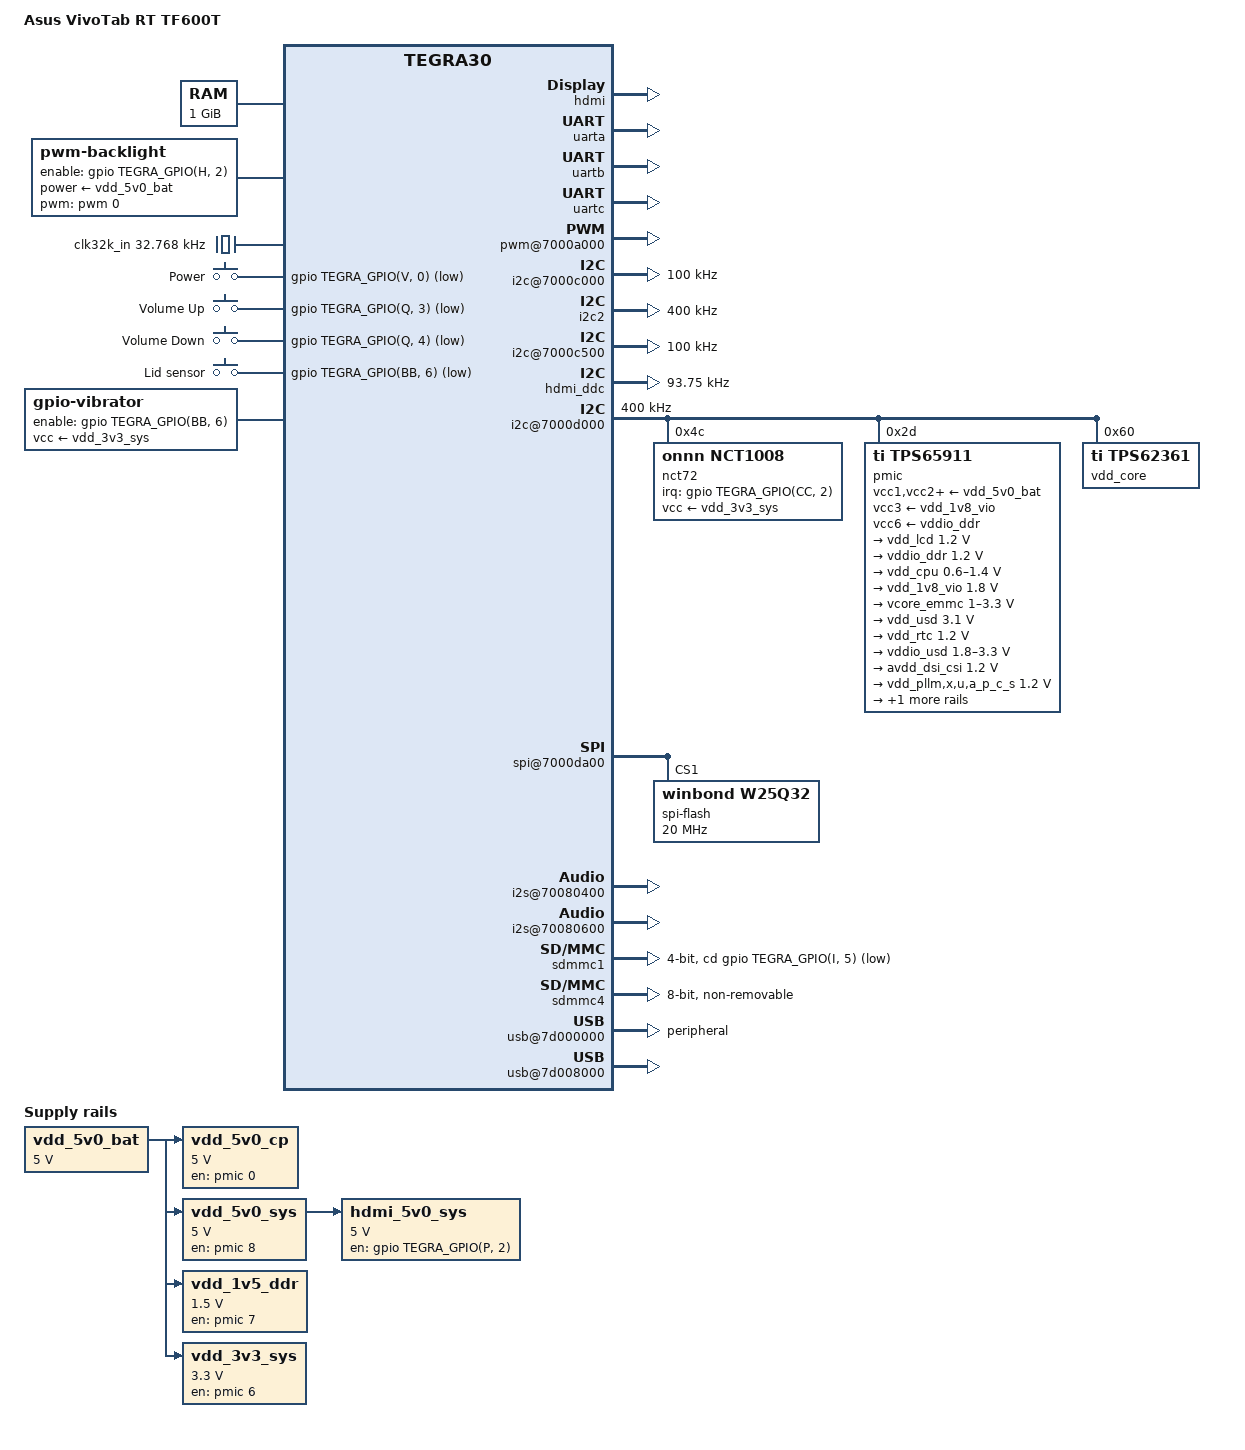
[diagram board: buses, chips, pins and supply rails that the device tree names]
// SPDX-License-Identifier: GPL-2.0
/dts-v1/;

/* This dts file describes the Asus VivoTab RT TF600T tablet */
/* CPU Speedo ID 2, Soc Speedo ID 2, CPU Process: 2, Core Process: 0 */

#include <dt-bindings/input/gpio-keys.h>
#include <dt-bindings/input/input.h>
#include <dt-bindings/thermal/thermal.h>

#include "tegra30.dtsi"
#include "tegra30-cpu-opp.dtsi"
#include "tegra30-cpu-opp-microvolt.dtsi"

/ {
	model = "Asus VivoTab RT TF600T";
	compatible = "asus,tf600t", "nvidia,tegra30";

	aliases {
		mmc0 = &sdmmc4;	/* eMMC */
		mmc1 = &sdmmc1; /* uSD slot */

		rtc0 = &pmic;
		rtc1 = "/rtc@7000e000";

//		display0 = &lcd;
//		display1 = &hdmi;

		serial1 = &uartc; /* Bluetooth */
		serial2 = &uartb; /* GPS */
	};

	/*
	 * The decompressor and also some bootloaders rely on a
	 * pre-existing /chosen node to be available to insert the
	 * command line and merge other ATAGS info.
	 */
	chosen {
		stdout-path = &uarta;
	};

	memory@80000000 {
		reg = <0x80000000 0x40000000>; // 1 GiB is wrong size but 2GB doesnt work atm
	};

	reserved-memory {
		#address-cells = <1>;
		#size-cells = <1>;
		ranges;

		linux,cma@80000000 {
			compatible = "shared-dma-pool";
			alloc-ranges = <0x80000000 0x30000000>;
			size = <0x10000000>; 		/* 256MiB */
			linux,cma-default;
			reusable;
		};

		ramoops@beb00000 {
			compatible = "ramoops";
			reg = <0xbeb00000 0x10000>;	/* 64kB */
			console-size = <0x8000>;	/* 32kB */
			record-size = <0x400>;		/*  1kB */
			ecc-size = <16>;
		};
	};

	host1x@50000000 {
		hdmi: hdmi@54280000 {
			status = "okay";

			hdmi-supply = <&hdmi_5v0_sys>;
			pll-supply = <&vdd_1v8_vio>;
			vdd-supply = <&vdd_3v3_sys>;

			nvidia,hpd-gpio = <&gpio TEGRA_GPIO(N, 7) GPIO_ACTIVE_HIGH>;
			nvidia,ddc-i2c-bus = <&hdmi_ddc>;
		};

//		lcd: dsi@54300000 {
//			status = "okay";
//
//			avdd-dsi-csi-supply = <&avdd_dsi_csi>;
//
//			panel@0 {
//				compatible = "hydis,hv101hd1";
//				reg = <0>;
//
//				enable-gpio = <&gpio TEGRA_GPIO(L, 4) GPIO_ACTIVE_HIGH>;
//
//				power-supply = <&vdd_lcd>;
//				backlight = <&backlight>;
//			};
//		};
	};

	vde@6001a000 {
		assigned-clocks = <&tegra_car TEGRA30_CLK_VDE>;
		assigned-clock-parents = <&tegra_car TEGRA30_CLK_PLL_P>;
		assigned-clock-rates = <408000000>;
	};

	pinmux@70000868 {
		pinctrl-names = "default";
		pinctrl-0 = <&state_default>;

		state_default: pinmux {
			/* SDMMC1 pinmux */
			sdmmc1_clk {
				nvidia,pins = "sdmmc1_clk_pz0";
				nvidia,function = "sdmmc1";
				nvidia,pull = <TEGRA_PIN_PULL_NONE>;
				nvidia,tristate = <TEGRA_PIN_DISABLE>;
				nvidia,enable-input = <TEGRA_PIN_ENABLE>;
			};
			sdmmc1_cmd {
				nvidia,pins = "sdmmc1_dat3_py4",
						"sdmmc1_dat2_py5",
						"sdmmc1_dat1_py6",
						"sdmmc1_dat0_py7",
						"sdmmc1_cmd_pz1";
				nvidia,function = "sdmmc1";
				nvidia,pull = <TEGRA_PIN_PULL_UP>;
				nvidia,tristate = <TEGRA_PIN_DISABLE>;
				nvidia,enable-input = <TEGRA_PIN_ENABLE>;
			};
			sdmmc1_cd {
				nvidia,pins = "gmi_iordy_pi5";
				nvidia,function = "rsvd1";
				nvidia,pull = <TEGRA_PIN_PULL_UP>;
				nvidia,tristate = <TEGRA_PIN_DISABLE>;
				nvidia,enable-input = <TEGRA_PIN_ENABLE>;
			};
			sdmmc1_wp {
				nvidia,pins = "vi_d11_pt3";
				nvidia,function = "rsvd2";
				nvidia,pull = <TEGRA_PIN_PULL_UP>;
				nvidia,tristate = <TEGRA_PIN_DISABLE>;
				nvidia,enable-input = <TEGRA_PIN_ENABLE>;
			};

			/* SDMMC3 pinmux */
			sdmmc3_clk {
				nvidia,pins = "sdmmc3_clk_pa6";
				nvidia,function = "sdmmc3";
				nvidia,pull = <TEGRA_PIN_PULL_NONE>;
				nvidia,tristate = <TEGRA_PIN_DISABLE>;
				nvidia,enable-input = <TEGRA_PIN_ENABLE>;
			};
			sdmmc3_cmd {
				nvidia,pins = "sdmmc3_cmd_pa7",
						"sdmmc3_dat0_pb7",
						"sdmmc3_dat1_pb6",
						"sdmmc3_dat2_pb5",
						"sdmmc3_dat3_pb4",
						"sdmmc3_dat4_pd1",
						"sdmmc3_dat5_pd0",
						"sdmmc3_dat6_pd3",
						"sdmmc3_dat7_pd4";
				nvidia,function = "sdmmc3";
				nvidia,pull = <TEGRA_PIN_PULL_UP>;
				nvidia,tristate = <TEGRA_PIN_DISABLE>;
				nvidia,enable-input = <TEGRA_PIN_ENABLE>;
			};

			/* SDMMC4 pinmux */
			sdmmc4_clk {
				nvidia,pins = "sdmmc4_clk_pcc4";
				nvidia,function = "sdmmc4";
				nvidia,pull = <TEGRA_PIN_PULL_NONE>;
				nvidia,tristate = <TEGRA_PIN_DISABLE>;
				nvidia,enable-input = <TEGRA_PIN_ENABLE>;
			};
			sdmmc4_cmd {
				nvidia,pins = "sdmmc4_cmd_pt7",
						"sdmmc4_dat0_paa0",
						"sdmmc4_dat1_paa1",
						"sdmmc4_dat2_paa2",
						"sdmmc4_dat3_paa3",
						"sdmmc4_dat4_paa4",
						"sdmmc4_dat5_paa5",
						"sdmmc4_dat6_paa6",
						"sdmmc4_dat7_paa7";
				nvidia,function = "sdmmc4";
				nvidia,pull = <TEGRA_PIN_PULL_UP>;
				nvidia,tristate = <TEGRA_PIN_DISABLE>;
				nvidia,enable-input = <TEGRA_PIN_ENABLE>;
			};
			sdmmc4_rst_n {
				nvidia,pins = "sdmmc4_rst_n_pcc3";
				nvidia,function = "rsvd2";
				nvidia,pull = <TEGRA_PIN_PULL_DOWN>;
				nvidia,tristate = <TEGRA_PIN_DISABLE>;
				nvidia,enable-input = <TEGRA_PIN_ENABLE>;
			};
			cam_mclk {
				nvidia,pins = "cam_mclk_pcc0";
				nvidia,function = "vi_alt3";
				nvidia,pull = <TEGRA_PIN_PULL_UP>;
				nvidia,tristate = <TEGRA_PIN_DISABLE>;
				nvidia,enable-input = <TEGRA_PIN_ENABLE>;
			};

			/* I2C pinmux */
			gen1_i2c {
				nvidia,pins = "gen1_i2c_scl_pc4",
						"gen1_i2c_sda_pc5";
				nvidia,function = "i2c1";
				nvidia,pull = <TEGRA_PIN_PULL_NONE>;
				nvidia,tristate = <TEGRA_PIN_DISABLE>;
				nvidia,enable-input = <TEGRA_PIN_ENABLE>;
				nvidia,open-drain = <TEGRA_PIN_ENABLE>;
				nvidia,lock = <0>;
			};
			gen2_i2c {
				nvidia,pins = "gen2_i2c_scl_pt5",
						"gen2_i2c_sda_pt6";
				nvidia,function = "i2c2";
				nvidia,pull = <TEGRA_PIN_PULL_NONE>;
				nvidia,tristate = <TEGRA_PIN_DISABLE>;
				nvidia,enable-input = <TEGRA_PIN_ENABLE>;
				nvidia,open-drain = <TEGRA_PIN_ENABLE>;
				nvidia,lock = <0>;
			};
			cam_i2c {
				nvidia,pins = "cam_i2c_scl_pbb1",
						"cam_i2c_sda_pbb2";
				nvidia,function = "i2c3";
				nvidia,pull = <TEGRA_PIN_PULL_NONE>;
				nvidia,tristate = <TEGRA_PIN_DISABLE>;
				nvidia,enable-input = <TEGRA_PIN_ENABLE>;
				nvidia,open-drain = <TEGRA_PIN_ENABLE>;
				nvidia,lock = <0>;
			};
			ddc_i2c {
				nvidia,pins = "ddc_scl_pv4",
						"ddc_sda_pv5";
				nvidia,function = "i2c4";
				nvidia,pull = <TEGRA_PIN_PULL_NONE>;
				nvidia,tristate = <TEGRA_PIN_DISABLE>;
				nvidia,enable-input = <TEGRA_PIN_ENABLE>;
				nvidia,lock = <0>;
			};
			pwr_i2c {
				nvidia,pins = "pwr_i2c_scl_pz6",
						"pwr_i2c_sda_pz7";
				nvidia,function = "i2cpwr";
				nvidia,pull = <TEGRA_PIN_PULL_NONE>;
				nvidia,tristate = <TEGRA_PIN_DISABLE>;
				nvidia,enable-input = <TEGRA_PIN_ENABLE>;
				nvidia,open-drain = <TEGRA_PIN_ENABLE>;
				nvidia,lock = <0>;
			};
			hotplug_i2c {
				nvidia,pins = "pu4";
				nvidia,function = "rsvd4";
				nvidia,pull = <TEGRA_PIN_PULL_UP>;
				nvidia,tristate = <TEGRA_PIN_DISABLE>;
				nvidia,enable-input = <TEGRA_PIN_ENABLE>;
			};

			/* HDMI pinmux */
			hdmi_cec {
				nvidia,pins = "hdmi_cec_pee3";
				nvidia,function = "cec";
				nvidia,pull = <TEGRA_PIN_PULL_NONE>;
				nvidia,tristate = <TEGRA_PIN_DISABLE>;
				nvidia,enable-input = <TEGRA_PIN_ENABLE>;
				nvidia,open-drain = <TEGRA_PIN_ENABLE>;
				nvidia,lock = <0>;
			};
			hdmi_hpd {
				nvidia,pins = "hdmi_int_pn7";
				nvidia,function = "hdmi";
				nvidia,pull = <TEGRA_PIN_PULL_NONE>;
				nvidia,tristate = <TEGRA_PIN_ENABLE>;
				nvidia,enable-input = <TEGRA_PIN_ENABLE>;
			};

			/* Sensors pinmux */
			nct_irq {
				nvidia,pins = "pcc2";
				nvidia,function = "i2s4";
				nvidia,pull = <TEGRA_PIN_PULL_NONE>;
				nvidia,tristate = <TEGRA_PIN_DISABLE>;
				nvidia,enable-input = <TEGRA_PIN_ENABLE>;
			};
			hall {
				nvidia,pins = "pbb6";
				nvidia,function = "vgp6";
				nvidia,pull = <TEGRA_PIN_PULL_UP>;
				nvidia,tristate = <TEGRA_PIN_DISABLE>;
				nvidia,enable-input = <TEGRA_PIN_ENABLE>;
			};

			/* GPIO keys pinmux */
			power_key {
				nvidia,pins = "pv0";
				nvidia,function = "rsvd1";
				nvidia,pull = <TEGRA_PIN_PULL_UP>;
				nvidia,tristate = <TEGRA_PIN_ENABLE>;
				nvidia,enable-input = <TEGRA_PIN_ENABLE>;
			};
			vol_keys {
				nvidia,pins = "kb_col3_pq3",
						"kb_col4_pq4";
				nvidia,function = "rsvd4";
				nvidia,pull = <TEGRA_PIN_PULL_UP>;
				nvidia,tristate = <TEGRA_PIN_ENABLE>;
				nvidia,enable-input = <TEGRA_PIN_ENABLE>;
			};

			gmi_ad0_pg0 {
				nvidia,pins = "gmi_ad0_pg0",
						"gmi_ad1_pg1",
						"gmi_ad2_pg2",
						"gmi_ad3_pg3",
						"gmi_ad6_pg6",
						"gmi_ad7_pg7",
						"gmi_wr_n_pi0",
						"gmi_oe_n_pi1",
						"gmi_dqs_pi2",
						"gmi_adv_n_pk0",
						"gmi_clk_pk1";
				nvidia,function = "nand";
				nvidia,pull = <TEGRA_PIN_PULL_NONE>;
				nvidia,tristate = <TEGRA_PIN_ENABLE>;
				nvidia,enable-input = <TEGRA_PIN_DISABLE>;
			};
			gmi_ad13_ph5 {
				nvidia,pins = "gmi_ad13_ph5";
				nvidia,function = "nand";
				nvidia,pull = <TEGRA_PIN_PULL_NONE>;
				nvidia,tristate = <TEGRA_PIN_DISABLE>;
				nvidia,enable-input = <TEGRA_PIN_ENABLE>;
			};
			gmi_ad10_ph2 {
				nvidia,pins = "gmi_ad10_ph2",
						"gmi_ad11_ph3",
						"gmi_ad14_ph6";
				nvidia,function = "nand";
				nvidia,pull = <TEGRA_PIN_PULL_NONE>;
				nvidia,tristate = <TEGRA_PIN_DISABLE>;
				nvidia,enable-input = <TEGRA_PIN_DISABLE>;
			};
			gmi_ad12_ph4 {
				nvidia,pins = "gmi_ad12_ph4",
						"gmi_rst_n_pi4",
						"gmi_cs7_n_pi6";
				nvidia,function = "nand";
				nvidia,pull = <TEGRA_PIN_PULL_UP>;
				nvidia,tristate = <TEGRA_PIN_DISABLE>;
				nvidia,enable-input = <TEGRA_PIN_ENABLE>;
			};

			/* Vibrator control */
			vibrator {
				nvidia,pins = "gmi_ad11_ph3";
				nvidia,function = "nand";
				nvidia,pull = <TEGRA_PIN_PULL_DOWN>;
				nvidia,tristate = <TEGRA_PIN_DISABLE>;
				nvidia,enable-input = <TEGRA_PIN_DISABLE>;
			};

			/* PWM pinmux */
			pwm_0 {
				nvidia,pins = "gmi_ad8_ph0";
				nvidia,function = "pwm0";
				nvidia,pull = <TEGRA_PIN_PULL_NONE>;
				nvidia,tristate = <TEGRA_PIN_DISABLE>;
				nvidia,enable-input = <TEGRA_PIN_DISABLE>;
			};
			pwm_2 {
				nvidia,pins = "pu5";
				nvidia,function = "pwm2";
				nvidia,pull = <TEGRA_PIN_PULL_NONE>;
				nvidia,tristate = <TEGRA_PIN_DISABLE>;
				nvidia,enable-input = <TEGRA_PIN_ENABLE>;
			};

			vi_d4_pl2 {
				nvidia,pins = "vi_d4_pl2";
				nvidia,function = "vi";
				nvidia,pull = <TEGRA_PIN_PULL_NONE>;
				nvidia,tristate = <TEGRA_PIN_DISABLE>;
				nvidia,enable-input = <TEGRA_PIN_DISABLE>;
			};
			vi_d6_pl4 {
				nvidia,pins = "vi_d6_pl4";
				nvidia,function = "vi";
				nvidia,pull = <TEGRA_PIN_PULL_NONE>;
				nvidia,tristate = <TEGRA_PIN_DISABLE>;
				nvidia,enable-input = <TEGRA_PIN_DISABLE>;
				nvidia,lock = <0>;
				nvidia,ioreset = <0>;
			};
			vi_mclk_pt1 {
				nvidia,pins = "vi_mclk_pt1";
				nvidia,function = "vi";
				nvidia,pull = <TEGRA_PIN_PULL_UP>;
				nvidia,tristate = <TEGRA_PIN_DISABLE>;
				nvidia,enable-input = <TEGRA_PIN_ENABLE>;
			};

			/* GPIO power/drive control */
			drive_dap1 {
				nvidia,pins = "drive_dap1",
						"drive_dap2",
						"drive_dbg",
						"drive_at5",
						"drive_gme",
						"drive_ddc",
						"drive_ao1",
						"drive_uart3";
				nvidia,high-speed-mode = <TEGRA_PIN_DISABLE>;
				nvidia,schmitt = <TEGRA_PIN_ENABLE>;
				nvidia,low-power-mode = <TEGRA_PIN_LP_DRIVE_DIV_1>;
				nvidia,pull-down-strength = <31>;
				nvidia,pull-up-strength = <31>;
				nvidia,slew-rate-rising = <TEGRA_PIN_SLEW_RATE_FASTEST>;
				nvidia,slew-rate-falling = <TEGRA_PIN_SLEW_RATE_FASTEST>;
			};
			drive_sdio1 {
				nvidia,pins = "drive_sdio1",
						"drive_sdio3";
				nvidia,high-speed-mode = <TEGRA_PIN_DISABLE>;
				nvidia,schmitt = <TEGRA_PIN_DISABLE>;
				nvidia,pull-down-strength = <46>;
				nvidia,pull-up-strength = <42>;
				nvidia,slew-rate-rising = <TEGRA_PIN_SLEW_RATE_FAST>;
				nvidia,slew-rate-falling = <TEGRA_PIN_SLEW_RATE_FAST>;
			};
			drive_sdmmc4 {
				nvidia,pins = "drive_gma",
						"drive_gmb",
						"drive_gmc",
						"drive_gmd";
				nvidia,pull-down-strength = <9>;
				nvidia,pull-up-strength = <9>;
				nvidia,slew-rate-rising = <TEGRA_PIN_SLEW_RATE_SLOWEST>;
				nvidia,slew-rate-falling = <TEGRA_PIN_SLEW_RATE_SLOWEST>;
			};
		};
	};

	uarta: serial@70006000 {
		status = "okay";
	};

	uartb: serial@70006040 {
		compatible = "nvidia,tegra30-hsuart";
		status = "okay";
	};

	uartc: serial@70006200 {
		compatible = "nvidia,tegra30-hsuart";
		status = "okay";
	};

	pwm@7000a000 {
		status = "okay";
	};

	i2c@7000c000 {		/*i2c1*/
		status = "okay";
		clock-frequency = <100000>;
	};

	i2c2: i2c@7000c400 {		/*i2c2*/
		status = "okay";
		clock-frequency = <400000>;
	};

	i2c@7000c500 {		/*i2c3*/
		status = "okay";
		clock-frequency = <100000>;
	};

	hdmi_ddc: i2c@7000c700 {		/*i2c4*/
		status = "okay";
		clock-frequency = <93750>;

		/* Nvidia Tegra HDCP device */
	};

	i2c@7000d000 {		/*i2c5*/
		status = "okay";
		clock-frequency = <400000>;

		nct72: temperature-sensor@4c {
			compatible = "onnn,nct1008";
			reg = <0x4c>;

			interrupt-parent = <&gpio>;
			interrupts = <TEGRA_GPIO(CC, 2) IRQ_TYPE_EDGE_FALLING>;

			vcc-supply = <&vdd_3v3_sys>;
			#thermal-sensor-cells = <1>;
		};

		/* Texas Instruments TPS659110 PMIC */
		pmic: pmic@2d {
			compatible = "ti,tps65911";
			reg = <0x2d>;

			interrupts = <GIC_SPI 86 IRQ_TYPE_LEVEL_HIGH>;
			#interrupt-cells = <2>;
			interrupt-controller;

			ti,en-gpio-sleep = <0 0 1 0 0 0 0 0 0>;
			ti,system-power-controller;
			ti,sleep-keep-ck32k;
			ti,sleep-enable;

			#gpio-cells = <2>;
			gpio-controller;

			vcc1-supply = <&vdd_5v0_bat>;
			vcc2-supply = <&vdd_5v0_bat>;
			vcc3-supply = <&vdd_1v8_vio>;
			vcc4-supply = <&vdd_5v0_bat>;
			vcc5-supply = <&vdd_5v0_bat>;
			vcc6-supply = <&vddio_ddr>;
			vcc7-supply = <&vdd_5v0_bat>;
			vccio-supply = <&vdd_5v0_bat>;

			pmic-sleep-hog {
				gpio-hog;
				gpios = <2 GPIO_ACTIVE_HIGH>;
				output-high;
			};

			regulators {
				vdd_lcd: vdd1 {
					regulator-name = "vddio_ddr_1v2";
					regulator-min-microvolt = <1200000>;
					regulator-max-microvolt = <1200000>;
					regulator-always-on;
					regulator-boot-on;
					ti,regulator-ext-sleep-control = <8>;
				};

				vddio_ddr: vdd2 {
					regulator-name = "vddio_ddr";
					regulator-min-microvolt = <1200000>;
					regulator-max-microvolt = <1200000>;
					regulator-always-on;
					regulator-boot-on;
				};

				vdd_cpu: vddctrl {
					regulator-name = "vdd_cpu,vdd_sys";
					regulator-min-microvolt = <600000>;
					regulator-max-microvolt = <1400000>;
					regulator-coupled-with = <&vdd_core>;
					regulator-coupled-max-spread = <300000>;
					regulator-max-step-microvolt = <100000>;
					regulator-always-on;
					regulator-boot-on;
					ti,regulator-ext-sleep-control = <1>;

					nvidia,tegra-cpu-regulator;
				};

				vdd_1v8_vio: vio {
					regulator-name = "vdd_1v8_gen";
					regulator-min-microvolt = <1800000>;
					regulator-max-microvolt = <1800000>;
					regulator-always-on;
					regulator-boot-on;
				};

				/* eMMC VDD */
				vcore_emmc: ldo1 {
					regulator-name = "vdd_emmc_core";
					regulator-min-microvolt = <1000000>;
					regulator-max-microvolt = <3300000>;
					regulator-always-on;
				};

				/* uSD slot VDD */
				vdd_usd: ldo2 {
					regulator-name = "vdd_usd";
					regulator-min-microvolt = <3100000>;
					regulator-max-microvolt = <3100000>;
					regulator-always-on;
				};

				/* ldo3 is not used by TF600T */

				ldo4 {
					regulator-name = "vdd_rtc";
					regulator-min-microvolt = <1200000>;
					regulator-max-microvolt = <1200000>;
					regulator-always-on;
				};

				/* uSD slot VDDIO */
				vddio_usd: ldo5 {
					regulator-name = "vddio_sdmmc";
					regulator-min-microvolt = <1800000>;
					regulator-max-microvolt = <3300000>;
					regulator-always-on;
				};

				avdd_dsi_csi: ldo6 {
					regulator-name = "avdd_dsi_csi,pwrdet_mipi";
					regulator-min-microvolt = <1200000>;
					regulator-max-microvolt = <1200000>;
				};

				ldo7 {
					regulator-name = "vdd_pllm,x,u,a_p_c_s";
					regulator-min-microvolt = <1200000>;
					regulator-max-microvolt = <1200000>;
					regulator-always-on;
					regulator-boot-on;
					ti,regulator-ext-sleep-control = <8>;
				};

				ldo8 {
					regulator-name = "vdd_ddr_hs";
					regulator-min-microvolt = <1000000>;
					regulator-max-microvolt = <1000000>;
					regulator-always-on;
					ti,regulator-ext-sleep-control = <8>;
				};
			};
		};

		vdd_core: core-regulator@60 {
			compatible = "ti,tps62361";
			reg = <0x60>;

			regulator-name = "tps62361-vout";
			regulator-min-microvolt = <500000>;
			regulator-max-microvolt = <1770000>;
			regulator-coupled-with = <&vdd_cpu>;
			regulator-coupled-max-spread = <300000>;
			regulator-max-step-microvolt = <100000>;
			regulator-boot-on;
			regulator-always-on;
			ti,enable-vout-discharge;
			ti,vsel0-state-high;
			ti,vsel1-state-high;

			nvidia,tegra-core-regulator;
		};
	};

	vdd_5v0_bat: regulator-bat {
		compatible = "regulator-fixed";
		regulator-name = "vdd_ac_bat";
		regulator-min-microvolt = <5000000>;
		regulator-max-microvolt = <5000000>;
		regulator-always-on;
		regulator-boot-on;
	};

	vdd_5v0_cp: regulator-sby {
		compatible = "regulator-fixed";
		regulator-name = "vdd_5v0_sby";
		regulator-min-microvolt = <5000000>;
		regulator-max-microvolt = <5000000>;
		regulator-always-on;
		regulator-boot-on;
		gpio = <&pmic 0 GPIO_ACTIVE_HIGH>;
		enable-active-high;
		vin-supply = <&vdd_5v0_bat>;
	};

	vdd_5v0_sys: regulator-5v {
		compatible = "regulator-fixed";
		regulator-name = "vdd_5v0_sys";
		regulator-min-microvolt = <5000000>;
		regulator-max-microvolt = <5000000>;
		regulator-always-on;
		regulator-boot-on;
		gpio = <&pmic 8 GPIO_ACTIVE_HIGH>;
		enable-active-high;
		vin-supply = <&vdd_5v0_bat>;
	};

	vdd_1v5_ddr: regulator-ddr {
		compatible = "regulator-fixed";
		regulator-name = "vdd_ddr";
		regulator-min-microvolt = <1500000>;
		regulator-max-microvolt = <1500000>;
		regulator-always-on;
		regulator-boot-on;
		gpio = <&pmic 7 GPIO_ACTIVE_HIGH>;
		enable-active-high;
		vin-supply = <&vdd_5v0_bat>;
	};

	vdd_3v3_sys: regulator-3v {
		compatible = "regulator-fixed";
		regulator-name = "vdd_3v3_sys";
		regulator-min-microvolt = <3300000>;
		regulator-max-microvolt = <3300000>;
		regulator-always-on;
		regulator-boot-on;
		gpio = <&pmic 6 GPIO_ACTIVE_HIGH>;
		enable-active-high;
		vin-supply = <&vdd_5v0_bat>;
	};

	hdmi_5v0_sys: regulator-hdmi {
		compatible = "regulator-fixed";
		regulator-name = "hdmi_5v0_sys";
		regulator-min-microvolt = <5000000>;
		regulator-max-microvolt = <5000000>;
		gpio = <&gpio TEGRA_GPIO(P, 2) GPIO_ACTIVE_HIGH>;
		enable-active-high;
		vin-supply = <&vdd_5v0_sys>;
	};

	pmc@7000e400 {
		status = "okay";
		nvidia,invert-interrupt;
		nvidia,suspend-mode = <1>;
		nvidia,cpu-pwr-good-time = <2000>;
		nvidia,cpu-pwr-off-time = <200>;
		nvidia,core-pwr-good-time = <3845 3845>;
		nvidia,core-pwr-off-time = <0>;
		nvidia,core-power-req-active-high;
		nvidia,sys-clock-req-active-high;
		core-supply = <&vdd_core>;

		/* Set DEV_OFF + PWR_OFF_SET bit in DCDC control register of TPS65911 PMIC  */
		i2c-thermtrip {
			nvidia,i2c-controller-id = <4>;
			nvidia,bus-addr = <0x2d>;
			nvidia,reg-addr = <0x3f>;
			nvidia,reg-data = <0x81>;
		};
	};

	hda@70030000 {
		status = "okay";
	};

	spi@7000da00 {
		status = "okay";
		spi-max-frequency = <25000000>;

		spi-flash@1 {
			compatible = "winbond,w25q32", "jedec,spi-nor";
			reg = <1>;
			spi-max-frequency = <20000000>;
		};
	};

	ahub@70080000 {
		i2s@70080400 {		/* i2s1 */
			status = "okay";
		};

		/* BT SCO */
		i2s@70080600 {		/* i2s3 */
			status = "okay";
		};
	};

	sdmmc1: mmc@78000000 {
		status = "okay";
		bus-width = <4>;

		cd-gpios = <&gpio TEGRA_GPIO(I, 5) GPIO_ACTIVE_LOW>;
		power-gpios =  <&gpio TEGRA_GPIO(D, 7) GPIO_ACTIVE_HIGH>;

		vqmmc-supply = <&vddio_usd>;
	};

	sdmmc4: mmc@78000600 {
		status = "okay";
		bus-width = <8>;
		non-removable;
	};

	/* USB via ASUS connector */
	usb@7d000000 {
		compatible = "nvidia,tegra30-udc";
		status = "okay";
		dr_mode = "peripheral";
	};

	usb-phy@7d000000 {
		status = "okay";
		dr_mode = "peripheral";
		nvidia,hssync-start-delay = <0>;
		nvidia,xcvr-lsfslew = <2>;
		nvidia,xcvr-lsrslew = <2>;
		vbus-supply = <&vdd_5v0_sys>;
	};

	/* Dock's USB port */
	usb@7d008000 {
		status = "okay";		
	};

	usb-phy@7d008000 {
		status = "okay";
		vbus-supply = <&vdd_5v0_bat>;
	};

	backlight: backlight {
		compatible = "pwm-backlight";

		enable-gpios = <&gpio TEGRA_GPIO(H, 2) GPIO_ACTIVE_HIGH>;
		power-supply = <&vdd_5v0_bat>;
		pwms = <&pwm 0 71428>;

		brightness-levels = <1 255>;
		num-interpolated-steps = <254>;
		default-brightness-level = <15>;
	};

	/* PMIC has a built-in 32KHz oscillator which is used by PMC */
	clk32k_in: clock-32k {
		compatible = "fixed-clock";
		#clock-cells = <0>;
		clock-frequency = <32768>;
		clock-output-names = "pmic-oscillator";
	};

	cpus {
		cpu0: cpu@0 {
			cpu-supply = <&vdd_cpu>;
			operating-points-v2 = <&cpu0_opp_table>;
			#cooling-cells = <2>;
		};
		cpu1: cpu@1 {
			cpu-supply = <&vdd_cpu>;
			operating-points-v2 = <&cpu0_opp_table>;
			#cooling-cells = <2>;
		};
		cpu2: cpu@2 {
			cpu-supply = <&vdd_cpu>;
			operating-points-v2 = <&cpu0_opp_table>;
			#cooling-cells = <2>;
		};
		cpu3: cpu@3 {
			cpu-supply = <&vdd_cpu>;
			operating-points-v2 = <&cpu0_opp_table>;
			#cooling-cells = <2>;
		};
	};

	pad-keys {
		compatible = "gpio-keys";
		interrupt-parent = <&gpio>;

		power {
			label = "Power";
			gpios = <&gpio TEGRA_GPIO(V, 0) GPIO_ACTIVE_LOW>;
			linux,code = <KEY_POWER>;
			debounce-interval = <10>;
			wakeup-event-action = <EV_ACT_ASSERTED>;
			wakeup-source;
		};

		volume-up {
			label = "Volume Up";
			gpios = <&gpio TEGRA_GPIO(Q, 3) GPIO_ACTIVE_LOW>;
			linux,code = <KEY_VOLUMEUP>;
			debounce-interval = <10>;
			wakeup-event-action = <EV_ACT_ASSERTED>;
			wakeup-source;
		};

		volume-down {
			label = "Volume Down";
			gpios = <&gpio TEGRA_GPIO(Q, 4) GPIO_ACTIVE_LOW>;
			linux,code = <KEY_VOLUMEDOWN>;
			debounce-interval = <10>;
			wakeup-event-action = <EV_ACT_ASSERTED>;
			wakeup-source;
		};
	};

	extcon-keys {
		compatible = "gpio-keys";
		interrupt-parent = <&gpio>;

		dock-hall-sensor {
			label = "Lid sensor";
			gpios = <&gpio TEGRA_GPIO(BB, 6) GPIO_ACTIVE_LOW>;
			linux,input-type = <EV_SW>;
			linux,code = <SW_LID>;
			debounce-interval = <500>;
			wakeup-event-action = <EV_ACT_ASSERTED>;
			wakeup-source;
		};

//		lineout-detect {
//			label = "Audio dock line-out detect";
//			gpios = <&gpio TEGRA_GPIO(X, 3) GPIO_ACTIVE_LOW>;
//			linux,input-type = <EV_SW>;
//			linux,code = <SW_LINEOUT_INSERT>;
//			debounce-interval = <10>;
//			wakeup-event-action = <EV_ACT_ASSERTED>;
//			wakeup-source;
//		};
	};

	vibrator {
		compatible = "gpio-vibrator";
		enable-gpios = <&gpio TEGRA_GPIO(BB, 6) GPIO_ACTIVE_HIGH>;
		vcc-supply = <&vdd_3v3_sys>;
	};

	power-domain-core {
		power-supply = <&vdd_core>;
	};

	thermal-zones {
		/*
		 * NCT72 has two sensors:
		 *
		 *	0: internal that monitors ambient/skin temperature
		 *	1: external that is connected to the CPU's diode
		 *
		 * Ideally we should use userspace thermal governor,
		 * but it's a much more complex solution.  The "skin"
		 * zone exists as a simpler solution which prevents
		 * Transformers from getting too hot from a user's
		 * tactile perspective. The CPU zone is intended to
		 * protect silicon from damage.
		 */

		skin-thermal {
			polling-delay-passive = <1000>; /* milliseconds */
			polling-delay = <5000>; /* milliseconds */

			thermal-sensors = <&nct72 0>;

			trips {
				trip0: skin-alert {
					/* throttle at 57C until temperature drops to 56.8C */
					temperature = <57000>;
					hysteresis = <200>;
					type = "passive";
				};

				trip1: skin-crit {
					/* shut down at 65C */
					temperature = <65000>;
					hysteresis = <2000>;
					type = "critical";
				};
			};

			cooling-maps {
				map0 {
					trip = <&trip0>;
					cooling-device = <&cpu0 THERMAL_NO_LIMIT THERMAL_NO_LIMIT>,
							 <&cpu1 THERMAL_NO_LIMIT THERMAL_NO_LIMIT>,
							 <&cpu2 THERMAL_NO_LIMIT THERMAL_NO_LIMIT>,
							 <&cpu3 THERMAL_NO_LIMIT THERMAL_NO_LIMIT>,
							 <&actmon THERMAL_NO_LIMIT
								  THERMAL_NO_LIMIT>;
				};
			};
		};

		cpu-thermal {
			polling-delay-passive = <1000>; /* milliseconds */
			polling-delay = <5000>; /* milliseconds */

			thermal-sensors = <&nct72 1>;

			trips {
				trip2: cpu-alert {
					/* throttle at 85C until temperature drops to 84.8C */
					temperature = <85000>;
					hysteresis = <200>;
					type = "passive";
				};

				trip3: cpu-crit {
					/* shut down at 90C */
					temperature = <90000>;
					hysteresis = <2000>;
					type = "critical";
				};
			};

			cooling-maps {
				map1 {
					trip = <&trip2>;
					cooling-device = <&cpu0 THERMAL_NO_LIMIT THERMAL_NO_LIMIT>,
							 <&cpu1 THERMAL_NO_LIMIT THERMAL_NO_LIMIT>,
							 <&cpu2 THERMAL_NO_LIMIT THERMAL_NO_LIMIT>,
							 <&cpu3 THERMAL_NO_LIMIT THERMAL_NO_LIMIT>,
							 <&actmon THERMAL_NO_LIMIT
								  THERMAL_NO_LIMIT>;
				};
			};
		};
	};
};
